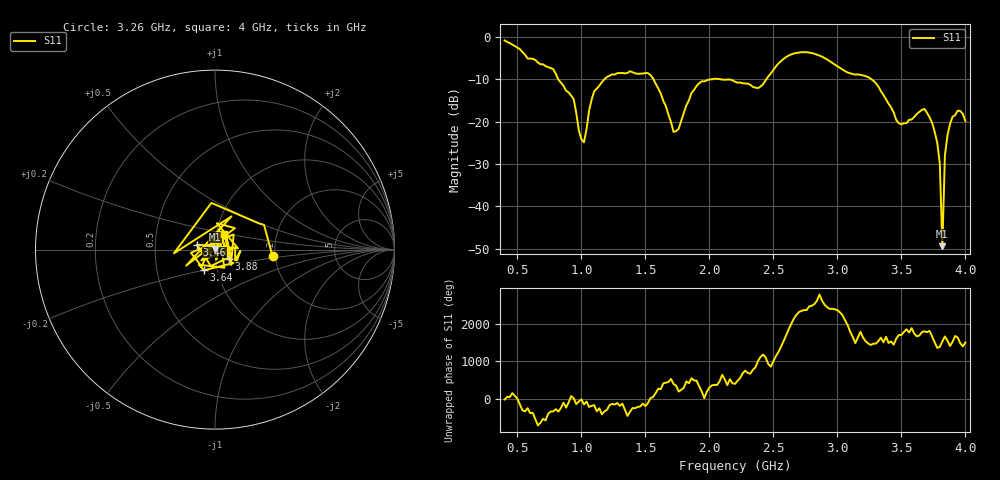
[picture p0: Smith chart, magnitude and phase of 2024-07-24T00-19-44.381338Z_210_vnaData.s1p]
!Created with skrf (http://scikit-rf.org).
# Hz S RI R 50.0
!freq ReS11 ImS11
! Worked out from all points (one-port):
!   181 points, 400 MHz to 4 GHz, reference 50 ohm
!   lowest |S11| = -49.4 dB at 3.82 GHz (marker M1), VSWR 1.01, Z = 50 + j0.338 ohm
!   |S11| at or under -10 dB: 819.4 MHz to 1.178 GHz (358.8 MHz wide, 35.9 % of centre); 1.564 GHz to 2.004 GHz (439.9 MHz wide, 24.7 % of centre); 3.268 GHz to end of sweep (the widest 3 of 4)
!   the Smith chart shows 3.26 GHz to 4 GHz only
!   S11 on the Smith chart (normalised r, x): 3.26 GHz: 1.94, -0.16; 3.46 GHz: 0.82, +0.05; 3.64 GHz: 0.86, -0.20; 3.88 GHz: 1.17, -0.12; 4 GHz: 1.09, +0.19
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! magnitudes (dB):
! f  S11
! 400 MHz  -0.8
! 780 MHz  -7.6
! 860 MHz  -11.5
! 940 MHz  -14.7
! 980 MHz  -22.1
! 1.02 GHz  -24.9
! 1.1 GHz  -12.8
! 1.3 GHz  -8.5
! 1.54 GHz  -9.0
! 1.72 GHz  -22.4
! 1.76 GHz  -21.7
! 1.92 GHz  -10.9
! 2.2 GHz  -10.5
! 2.38 GHz  -12.1
! 2.66 GHz  -3.9
! 3.1 GHz  -8.5
! 3.26 GHz  -9.8
! 3.46 GHz  -19.6
! 3.56 GHz  -19.5
! 3.64 GHz  -17.7
! 3.7 GHz  -17.9
! 3.78 GHz  -24.9
! 3.8 GHz  -29.9
! 3.82 GHz  -49.4
! 3.84 GHz  -27.9
! 3.88 GHz  -20.5
! 3.94 GHz  -17.4
! 4 GHz  -19.8
